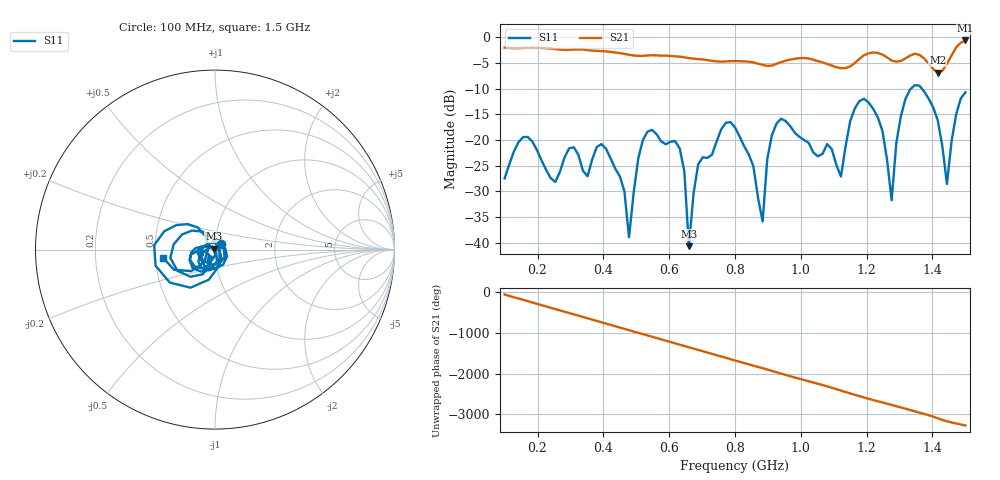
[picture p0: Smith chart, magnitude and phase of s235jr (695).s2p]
! NanoVNA-App
! Date: 2025-09-25 15:09:35
! Start: 100MHz Stop: 1,5GHz Points: 101
! S-Parameter data: F S11 S21 S12 S22
# Hz S RI R 50
!  Frequency  S11_Real  S11_Imag  S21_Real  S21_Imag  S12_Real  S12_Imag  S22_Real  S22_Imag
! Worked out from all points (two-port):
!   101 points, 100 MHz to 1.5 GHz, reference 50 ohm
!   highest |S21| = -0.58 dB at 1.5 GHz (marker M1); lowest = -6.9 dB at 1.416 GHz (marker M2)
!   |S21| within 3 dB of the highest: start of sweep to 598.9 MHz; 1.19 GHz to 1.254 GHz (64.75 MHz wide, 5.3 % of centre) (the widest 2 of 4)
!   lowest |S11| = -40.7 dB at 660 MHz (marker M3), VSWR 1.02, Z = 49.3 + j0.585 ohm
!   |S11| at or under -10 dB: start of sweep to 1.334 GHz; 1.368 GHz to end of sweep
!   S12 and S22 are empty: the file has one direction only
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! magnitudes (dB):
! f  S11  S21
! 100 MHz  -27.5  -2.0
! 156 MHz  -19.4  -2.0
! 338 MHz  -26.0  -2.3
! 408 MHz  -21.6  -2.7
! 478 MHz  -38.9  -3.4
! 520 MHz  -20.0  -3.6
! 576 MHz  -20.3  -3.5
! 632 MHz  -21.6  -3.7
! 660 MHz  -40.7  -4.0
! 688 MHz  -24.7  -4.2
! 800 MHz  -17.5  -4.6
! 884 MHz  -35.9  -5.3
! 926 MHz  -16.8  -5.1
! 1.038 GHz  -22.4  -4.3
! 1.122 GHz  -27.1  -6.0
! 1.192 GHz  -11.9  -3.5
! 1.248 GHz  -18.2  -3.3
! 1.276 GHz  -31.7  -4.5
! 1.332 GHz  -10.1  -3.5
! 1.416 GHz  -16.1  -6.9
! 1.444 GHz  -28.5  -5.1
! 1.5 GHz  -10.7  -0.6
